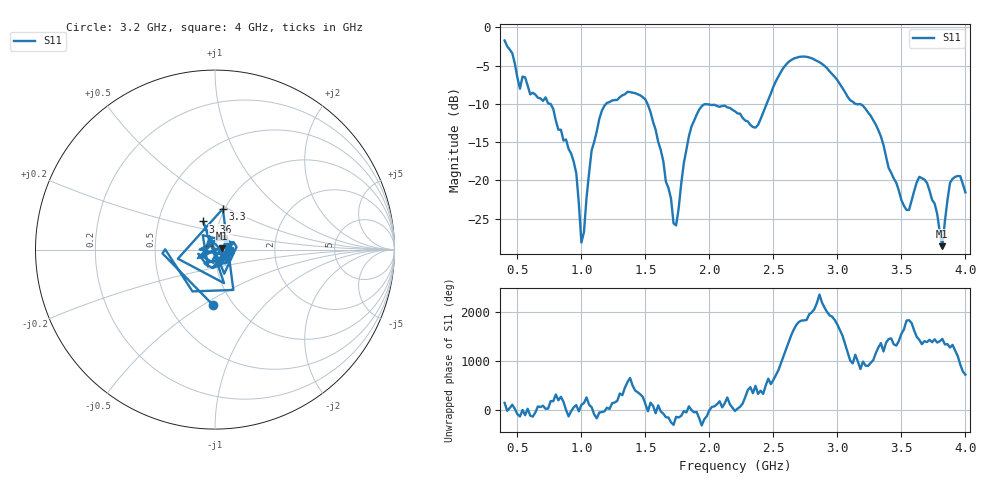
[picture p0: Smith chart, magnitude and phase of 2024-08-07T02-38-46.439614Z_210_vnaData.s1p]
!Created with skrf (http://scikit-rf.org).
# Hz S RI R 50.0
!freq ReS11 ImS11
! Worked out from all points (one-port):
!   181 points, 400 MHz to 4 GHz, reference 50 ohm
!   lowest |S11| = -28.6 dB at 3.82 GHz (marker M1), VSWR 1.08, Z = 53.8 + j0.743 ohm
!   |S11| at or under -10 dB: 757.4 MHz to 1.193 GHz (435.4 MHz wide, 44.7 % of centre); 1.516 GHz to 2.447 GHz (930.7 MHz wide, 47 % of centre); 3.14 GHz to end of sweep
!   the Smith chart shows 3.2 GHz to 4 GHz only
!   S11 on the Smith chart (normalised r, x): 3.2 GHz: 0.81, -0.55; 3.3 GHz: 0.98, +0.47; 3.36 GHz: 0.84, +0.27; 4 GHz: 1.18, -0.00
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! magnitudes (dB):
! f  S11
! 400 MHz  -1.7
! 520 MHz  -8.0
! 720 MHz  -9.1
! 860 MHz  -14.8
! 960 MHz  -19.1
! 1 GHz  -28.1
! 1.08 GHz  -16.1
! 1.14 GHz  -11.9
! 1.3 GHz  -9.1
! 1.5 GHz  -9.4
! 1.64 GHz  -17.5
! 1.72 GHz  -25.6
! 1.76 GHz  -23.7
! 1.84 GHz  -14.2
! 1.92 GHz  -10.8
! 2.2 GHz  -11.0
! 2.36 GHz  -13.1
! 2.66 GHz  -4.1
! 2.88 GHz  -4.8
! 3.1 GHz  -9.5
! 3.2 GHz  -10.2
! 3.3 GHz  -12.7
! 3.36 GHz  -15.4
! 3.56 GHz  -23.9
! 3.68 GHz  -19.9
! 3.82 GHz  -28.6
! 3.88 GHz  -20.3
! 4 GHz  -21.6
